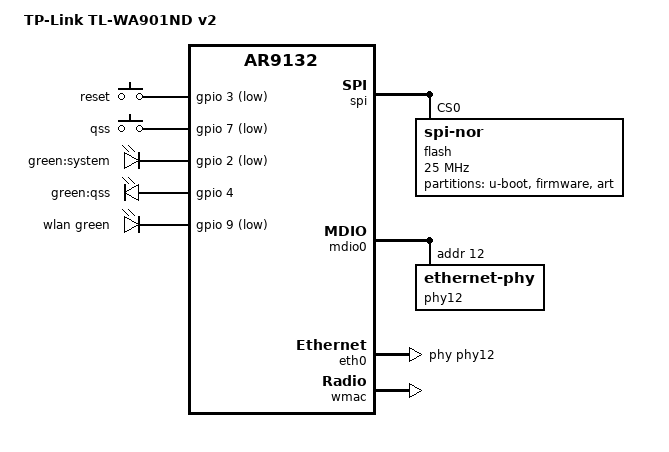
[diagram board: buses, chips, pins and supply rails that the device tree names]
// SPDX-License-Identifier: GPL-2.0-only

#include "ar9132.dtsi"

#include <dt-bindings/gpio/gpio.h>
#include <dt-bindings/input/input.h>
#include <dt-bindings/leds/common.h>

/ {
	compatible = "tplink,tl-wa901nd-v2", "qca,ar9132";
	model = "TP-Link TL-WA901ND v2";

	aliases {
		led-boot = &led_system;
		led-failsafe = &led_system;
		led-running = &led_system;
		led-upgrade = &led_system;
		label-mac-device = &eth0;
	};

	keys {
		compatible = "gpio-keys";

		reset {
			label = "reset";
			linux,code = <KEY_RESTART>;
			gpios = <&gpio 3 GPIO_ACTIVE_LOW>;
			debounce-interval = <60>;
		};

		qss {
			label = "qss";
			linux,code = <KEY_WPS_BUTTON>;
			gpios = <&gpio 7 GPIO_ACTIVE_LOW>;
			debounce-interval = <60>;
		};
	};

	leds {
		compatible = "gpio-leds";

		led_system: system {
			label = "green:system";
			gpios = <&gpio 2 GPIO_ACTIVE_LOW>;
		};

		qss {
			label = "green:qss";
			gpios = <&gpio 4 GPIO_ACTIVE_HIGH>;
		};

		wlan {
			function = LED_FUNCTION_WLAN;
			color = <LED_COLOR_ID_GREEN>;
			gpios = <&gpio 9 GPIO_ACTIVE_LOW>;
			linux,default-trigger = "phy0tpt";
		};
	};
};

&spi {
	status = "okay";

	flash@0 {
		compatible = "jedec,spi-nor";
		reg = <0>;
		spi-max-frequency = <25000000>;

		partitions {
			compatible = "fixed-partitions";
			#address-cells = <1>;
			#size-cells = <1>;

			uboot: partition@0 {
				label = "u-boot";
				reg = <0x000000 0x020000>;
				read-only;

				nvmem-layout {
					compatible = "fixed-layout";
					#address-cells = <1>;
					#size-cells = <1>;

					macaddr_uboot_1fc00: macaddr@1fc00 {
						reg = <0x1fc00 0x6>;
					};
				};
			};

			partition@20000 {
				compatible = "tplink,firmware";
				label = "firmware";
				reg = <0x020000 0x3D0000>;
			};

			partition@3f0000 {
				label = "art";
				reg = <0x3f0000 0x010000>;
				read-only;

				nvmem-layout {
					compatible = "fixed-layout";
					#address-cells = <1>;
					#size-cells = <1>;

					cal_art_1000: calibration@1000 {
						reg = <0x1000 0x440>;
					};
				};
			};
		};
	};
};

&mdio0 {
	status = "okay";

	phy12: ethernet-phy@c {
		reg = <0xc>;
		phy-mode = "mii";

		resets = <&rst 8>;
		reset-names = "phy";

		reset-assert-us = <10000>;
		reset-deassert-us = <10000>;
	};
};

&eth0 {
	status = "okay";

	nvmem-cells = <&macaddr_uboot_1fc00>;
	nvmem-cell-names = "mac-address";

	phy-handle = <&phy12>;
};

&wmac {
	status = "okay";

	nvmem-cells = <&macaddr_uboot_1fc00>, <&cal_art_1000>;
	nvmem-cell-names = "mac-address", "calibration";
};
